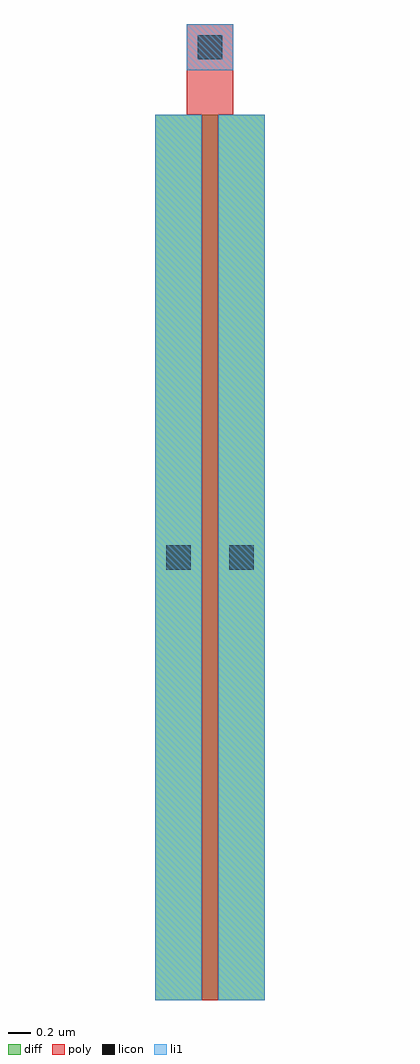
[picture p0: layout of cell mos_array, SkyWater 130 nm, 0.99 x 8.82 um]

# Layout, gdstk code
import gdstk
lib = gdstk.Library(unit=1e-6, precision=1e-09)
def R(c, l, rs):  # rectangles x0, y0, x1, y1
    for r in rs: c.add(gdstk.rectangle(r[:2], r[2:], *l))
diff = (65, 20)
poly = (66, 20)
licon = (66, 44)
li1 = (67, 20)

mos_array = lib.new_cell('mos_array')
R(mos_array, diff, [(0,0,0.99,8)])
R(mos_array, poly, [(0.42,0,0.57,8), (0.285,8,0.705,8.82)])
R(mos_array, licon, [(0.1,3.89,0.32,4.11), (0.67,3.89,0.89,4.11), (0.385,8.5,0.605,8.72)])
R(mos_array, li1, [(0,0,0.42,8), (0.57,0,0.99,8), (0.285,8.4,0.705,8.82)])

lib.write_gds('mos_array.gds')
